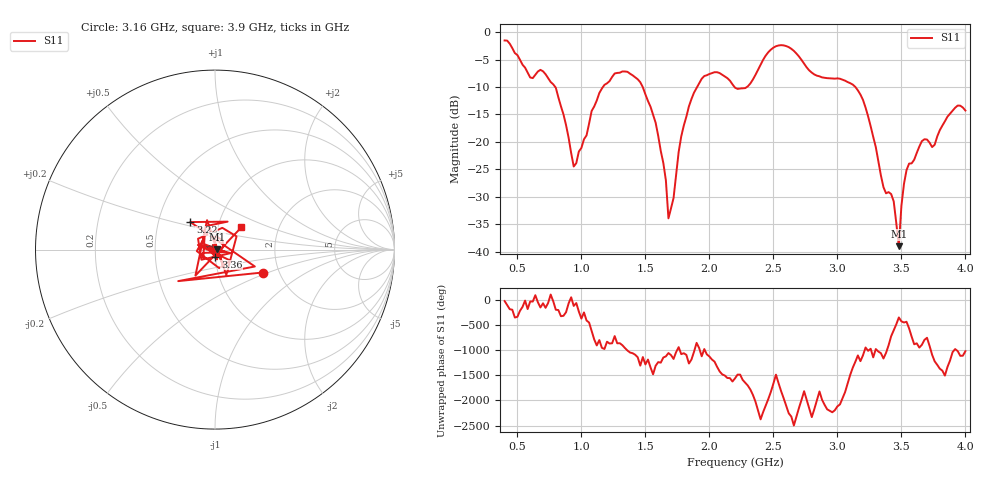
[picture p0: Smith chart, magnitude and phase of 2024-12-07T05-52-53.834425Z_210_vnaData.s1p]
!Created with skrf (http://scikit-rf.org).
# Hz S RI R 50.0
!freq ReS11 ImS11
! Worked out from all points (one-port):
!   181 points, 400 MHz to 4 GHz, reference 50 ohm
!   lowest |S11| = -39.0 dB at 3.48 GHz (marker M1), VSWR 1.02, Z = 51.1 + j0.163 ohm
!   |S11| at or under -10 dB: 795.9 MHz to 1.168 GHz (372.5 MHz wide, 37.9 % of centre); 1.479 GHz to 1.904 GHz (424.9 MHz wide, 25.1 % of centre); 3.141 GHz to end of sweep (the widest 3 of 4)
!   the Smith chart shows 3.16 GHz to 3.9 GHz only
!   S11 on the Smith chart (normalised r, x): 3.16 GHz: 1.64, -0.46; 3.22 GHz: 0.73, +0.23; 3.36 GHz: 1.00, -0.08; 3.9 GHz: 1.30, +0.34
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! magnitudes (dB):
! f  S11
! 400 MHz  -1.5
! 600 MHz  -8.3
! 720 MHz  -7.7
! 860 MHz  -15.0
! 940 MHz  -24.5
! 1.14 GHz  -11.1
! 1.3 GHz  -7.4
! 1.44 GHz  -8.6
! 1.54 GHz  -13.6
! 1.64 GHz  -23.8
! 1.68 GHz  -33.9
! 1.72 GHz  -30.2
! 1.76 GHz  -21.8
! 1.84 GHz  -13.5
! 1.94 GHz  -8.5
! 2.2 GHz  -10.1
! 2.5 GHz  -2.8
! 2.66 GHz  -3.4
! 3.1 GHz  -9.3
! 3.16 GHz  -10.6
! 3.22 GHz  -13.7
! 3.36 GHz  -28.2
! 3.44 GHz  -30.8
! 3.48 GHz  -39.0
! 3.52 GHz  -27.7
! 3.56 GHz  -23.9
! 3.9 GHz  -14.3
! 4 GHz  -14.3
